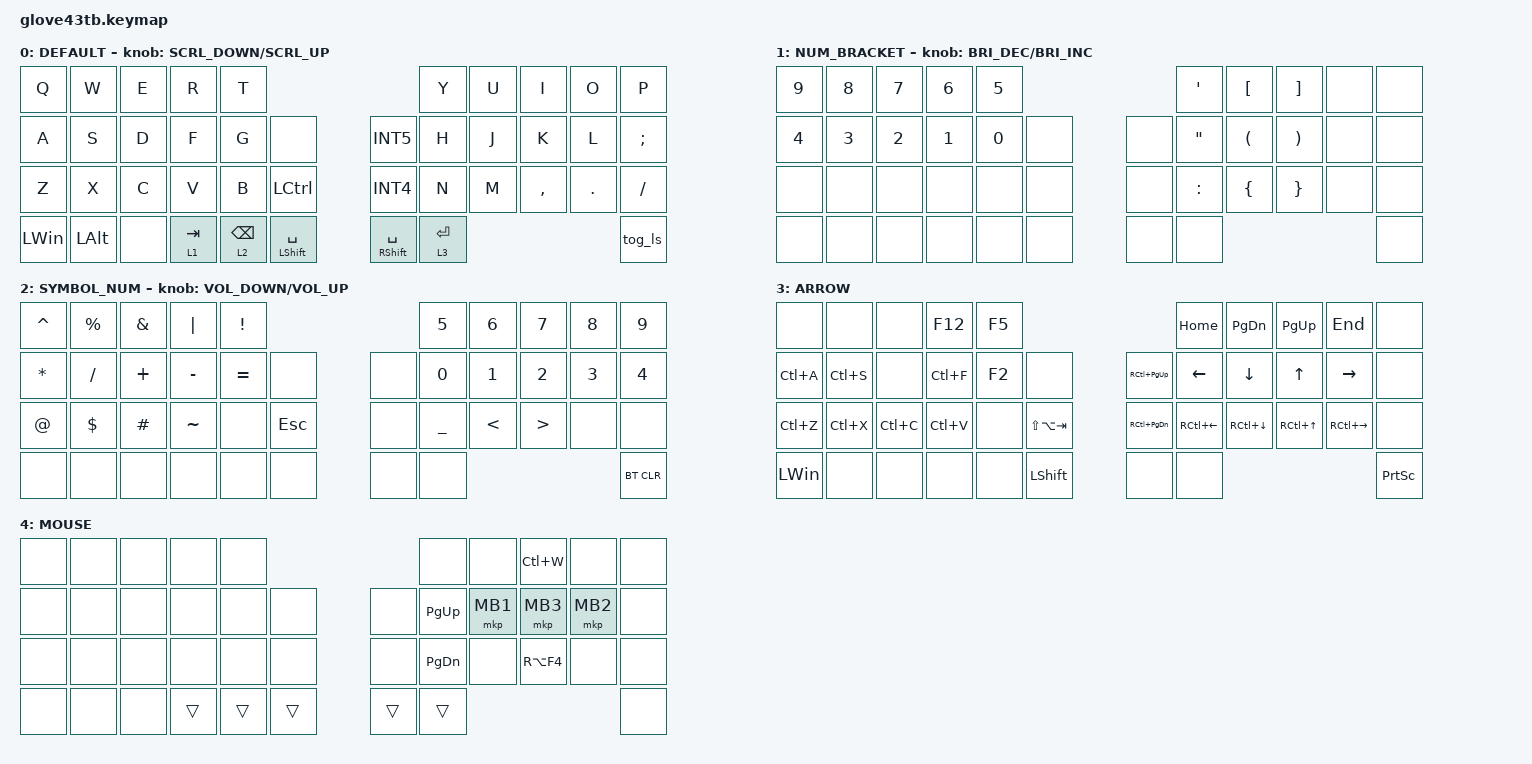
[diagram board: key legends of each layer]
#define ZMK_POINTING_DEFAULT_SCRL_VAL 150

#include <behaviors/rgbled_widget.dtsi>
#include <dt-bindings/zmk/input_transform.h>
#include <input/processors.dtsi>
#include <zephyr/dt-bindings/input/input-event-codes.h>
#include <behaviors.dtsi>
#include <layout_shift_kp_override.dtsi>
#include <dt-bindings/zmk/bt.h>
#include <dt-bindings/zmk/keys.h>
#include <dt-bindings/zmk/pointing.h>

&mt {
    flavor = "balanced";
    quick-tap-ms = <0>;
};

&mmv {
    delay-ms = <20>;
    trigger-period-ms = <5>;
    time-to-max-speed-ms = <100>;
    acceleration-exponent = <2>;
};

&msc {
    delay-ms = <3>;
    trigger-period-ms = <3>;
    time-to-max-speed-ms = <100>;
    acceleration-exponent = <0>;
};

/ {
    input_processors {
        zip_wheel_scaler: zip_wheel_scaler {
            compatible = "zmk,input-processor-scaler";
            #input-processor-cells = <2>;
            type = <INPUT_EV_REL>;
            codes = <INPUT_REL_WHEEL>;
            track-remainders;
        };
    };
};

/ {
    combos { compatible = "zmk,combos"; };

    macros {
        to_layer_0: to_layer_0 {
            compatible = "zmk,behavior-macro-one-param";
            #binding-cells = <1>;
            bindings = <&to 0 &macro_param_1to1 &kp MACRO_PLACEHOLDER>;
            label = "TO_LAYER_0";
        };
    };

    behaviors {
        sensor_rotate_kp: sensor_rotate_kp {
            compatible = "zmk,behavior-sensor-rotate-var";
            #sensor-binding-cells = <2>;
            bindings = <&kp>, <&kp>;
        };

        mouse_wheel_scroll: mouse_wheel_scroll {
            compatible = "zmk,behavior-sensor-rotate-var";
            #sensor-binding-cells = <2>;
            bindings = <&msc>, <&msc>;

            tap-ms = <20>;
        };

        bspc_layer: backspace_layer {
            compatible = "zmk,behavior-hold-tap";
            #binding-cells = <2>;
            bindings = <&mo>, <&kp>;

            tapping-term-ms = <200>;
            quick-tap-ms = <250>;
            flavor = "balanced";
        };
    };

    keymap {
        compatible = "zmk,keymap";

        DEFAULT {
            bindings = <
&kp Q         &kp W         &kp E  &kp R      &kp T                                                                     &kp Y        &kp U  &kp I      &kp O    &kp P
&kp A         &kp S         &kp D  &kp F      &kp G                    &none                     &kp INT5               &kp H        &kp J  &kp K      &kp L    &kp SEMICOLON
&kp Z         &kp X         &kp C  &kp V      &kp B                    &kp LCTRL                 &kp INT4               &kp N        &kp M  &kp COMMA  &kp DOT  &kp SLASH
&kp LEFT_WIN  &kp LEFT_ALT  &none  &lt 1 TAB  &bspc_layer 2 BACKSPACE  &mt LEFT_SHIFT SPACE      &mt RIGHT_SHIFT SPACE  &lt 3 ENTER                             &tog_ls
            >;

            sensor-bindings = <&mouse_wheel_scroll SCRL_DOWN SCRL_UP>;
        };

        NUM_BRACKET {
            bindings = <
&kp N9        &kp N8        &kp N7        &kp NUMBER_6  &kp N5                          &kp SQT            &kp LEFT_BRACKET      &kp RIGHT_BRACKET      &none  &none
&kp NUMBER_4  &kp NUMBER_3  &kp NUMBER_2  &kp NUMBER_1  &kp NUMBER_0  &none      &none  &kp DOUBLE_QUOTES  &kp LEFT_PARENTHESIS  &kp RIGHT_PARENTHESIS  &none  &none
&none         &none         &none         &none         &none         &none      &none  &kp COLON          &kp LEFT_BRACE        &kp RIGHT_BRACE        &none  &none
&none         &none         &none         &none         &none         &none      &none  &none                                                                  &none
            >;

            sensor-bindings = <&inc_dec_kp C_BRIGHTNESS_DEC C_BRIGHTNESS_INC>;
        };

        SYMBOL_NUM {
            bindings = <
&kp CARET     &kp PERCENT  &kp AMPERSAND  &kp PIPE   &kp EXCLAMATION                         &kp NUMBER_5    &kp NUMBER_6   &kp NUMBER_7      &kp NUMBER_8  &kp NUMBER_9
&kp ASTERISK  &kp SLASH    &kp PLUS       &kp MINUS  &kp EQUAL        &none           &none  &kp NUMBER_0    &kp NUMBER_1   &kp NUMBER_2      &kp NUMBER_3  &kp NUMBER_4
&kp AT_SIGN   &kp DOLLAR   &kp HASH       &kp TILDE  &none            &kp ESCAPE      &none  &kp UNDERSCORE  &kp LESS_THAN  &kp GREATER_THAN  &none         &none
&none         &none        &none          &none      &none            &none           &none  &none                                                          &bt BT_CLR
            >;

            sensor-bindings = <&sensor_rotate_kp C_VOLUME_DOWN C_VOLUME_UP>;
        };

        ARROW {
            bindings = <
&none         &none      &none      &kp F12    &kp F5                                          &kp HOME      &kp PAGE_DOWN  &kp PAGE_UP       &kp END        &none
&kp LC(A)     &kp LC(S)  &none      &kp LC(F)  &kp F2  &none                &kp RC(PAGE_UP)    &kp LEFT      &kp DOWN       &kp UP_ARROW      &kp RIGHT      &none
&kp LC(Z)     &kp LC(X)  &kp LC(C)  &kp LC(V)  &none   &kp LS(LA(TAB))      &kp RC(PAGE_DOWN)  &kp RC(LEFT)  &kp RC(DOWN)   &kp RC(UP_ARROW)  &kp RC(RIGHT)  &none
&kp LEFT_WIN  &none      &none      &none      &none   &kp LEFT_SHIFT       &none              &none                                                         &kp PRINTSCREEN
            >;
        };

        MOUSE {
            bindings = <
&none  &none  &none  &none   &none                       &none          &none     &kp LC(W)   &none     &none
&none  &none  &none  &none   &none   &none       &none   &kp PAGE_UP    &mkp MB1  &mkp MB3    &mkp MB2  &none
&none  &none  &none  &none   &none   &none       &none   &kp PAGE_DOWN  &none     &kp RA(F4)  &none     &none
&none  &none  &none  &trans  &trans  &trans      &trans  &trans                                         &none
            >;
        };
    };
};
